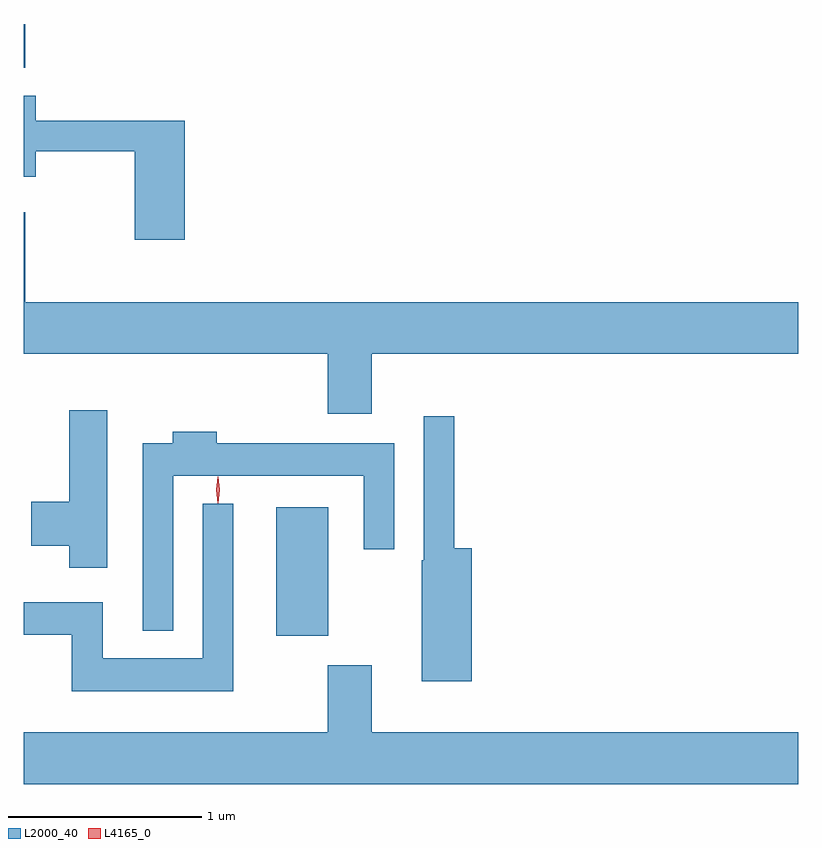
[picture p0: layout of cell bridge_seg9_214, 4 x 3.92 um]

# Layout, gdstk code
import gdstk
lib = gdstk.Library(unit=1e-6, precision=1e-09)
def R(c, l, rs):  # rectangles x0, y0, x1, y1
    for r in rs: c.add(gdstk.rectangle(r[:2], r[2:], *l))
def P(c, l, *ps):  # polygons
    for p in ps: c.add(gdstk.Polygon(p, *l))
L2000_40 = (2000, 40)
L4165_0 = (4165, 0)

bridge_seg9_214 = lib.new_cell('bridge_seg9_214')
R(bridge_seg9_214, L2000_40, [(1488.426,1968.161,1488.694,1968.824), (1487.121,1971.093,1487.129,1971.319)])
P(bridge_seg9_214, L2000_40, [(1487.954,1970.819),(1487.184,1970.819),(1487.184,1970.949),(1487.121,1970.949),(1487.121,1970.531),(1487.184,1970.531),(1487.184,1970.661),(1487.696,1970.661),(1487.696,1970.206),(1487.954,1970.206)],
  [(1487.121,1970.348),(1487.121,1969.616),(1488.691,1969.616),(1488.691,1969.306),(1488.919,1969.306),(1488.919,1969.616),(1491.121,1969.616),(1491.121,1969.884),(1487.129,1969.884),(1487.129,1970.348)],
  [(1487.554,1969.324),(1487.356,1969.324),(1487.356,1968.854),(1487.161,1968.854),(1487.161,1968.626),(1487.356,1968.626),(1487.356,1968.511),(1487.554,1968.511)],
  [(1489.434,1968.614),(1489.344,1968.614),(1489.344,1969.293),(1489.186,1969.293),(1489.186,1968.55),(1489.176,1968.55),(1489.176,1967.926),(1489.434,1967.926)],
  [(1487.894,1968.986),(1488.876,1968.986),(1488.876,1968.608),(1489.034,1968.608),(1489.034,1969.154),(1488.119,1969.154),(1488.119,1969.214),(1487.891,1969.214),(1487.891,1969.154),(1487.736,1969.154),(1487.736,1968.188),(1487.894,1968.188)],
  [(1488.204,1968.843),(1488.046,1968.843),(1488.046,1968.044),(1487.529,1968.044),(1487.529,1968.334),(1487.121,1968.334),(1487.121,1968.166),(1487.371,1968.166),(1487.371,1967.876),(1488.204,1967.876)],
  [(1491.121,1967.664),(1488.919,1967.664),(1488.919,1968.009),(1488.691,1968.009),(1488.691,1967.664),(1487.121,1967.664),(1487.121,1967.396),(1491.121,1967.396)])
P(bridge_seg9_214, L4165_0, [(1488.124,1968.844),(1488.115,1968.914),(1488.124,1968.983),(1488.125,1968.983),(1488.126,1968.983),(1488.135,1968.914),(1488.126,1968.844),(1488.125,1968.844)],
  [(1488.124,1968.847),(1488.115,1968.914),(1488.124,1968.98),(1488.125,1968.981),(1488.126,1968.98),(1488.135,1968.914),(1488.126,1968.847),(1488.125,1968.847)])

lib.write_gds('bridge_seg9_214.gds')
